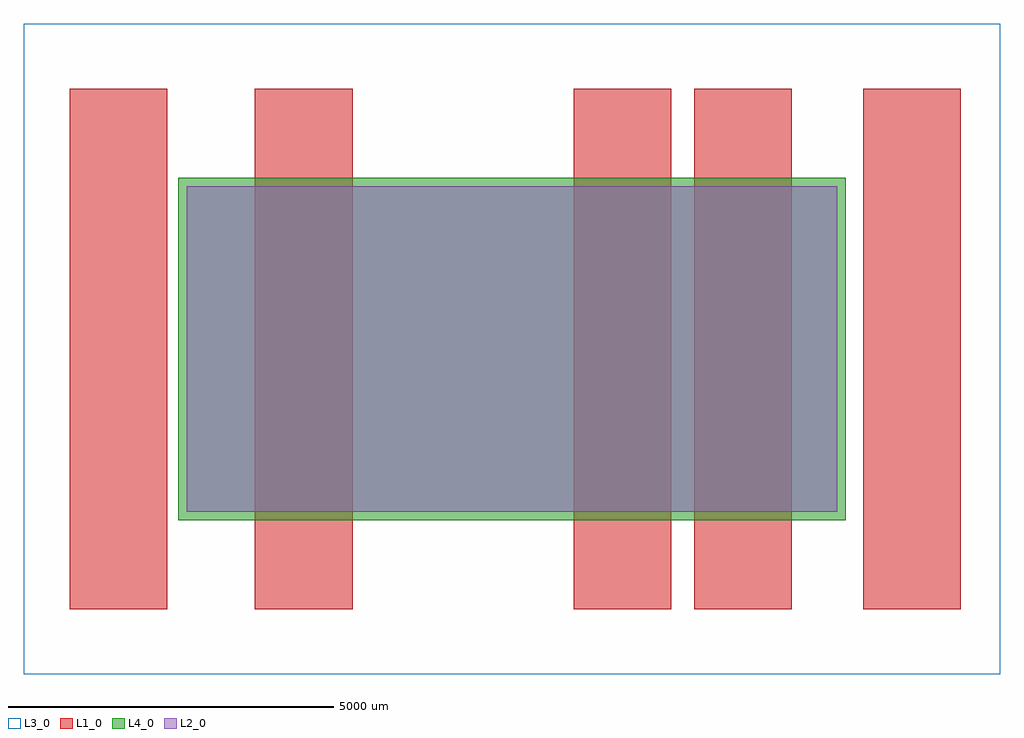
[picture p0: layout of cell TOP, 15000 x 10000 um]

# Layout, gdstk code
import gdstk
lib = gdstk.Library(unit=1e-6, precision=1e-09)
def R(c, l, rs):  # rectangles x0, y0, x1, y1
    for r in rs: c.add(gdstk.rectangle(r[:2], r[2:], *l))
def P(c, l, *ps):  # polygons
    for p in ps: c.add(gdstk.Polygon(p, *l))
L1_0 = (1, 0)
L2_0 = (2, 0)
L3_0 = (3, 0)
L4_0 = (4, 0)

top = lib.new_cell('TOP')
R(top, L1_0, [(-6800,-4000,-5300,4000), (-3950,-4000,-2450,4000), (950,-4000,2450,4000), (2800,-4000,4300,4000), (5400,-4000,6900,4000)])
R(top, L2_0, [(-5000,-2500,5000,2500)])
R(top, L3_0, [(-7500,-5000,7500,5000)])
R(top, L4_0, [(-5025,-2525,5025,2525)])
P(top, L4_0, [(-5130,-2630),(-5130,2530),(-5030,2530),(-5030,-2530),(5030,-2530),(5030,2530),(-5130,2530),(-5130,2630),(5130,2630),(5130,-2630)])

lib.write_gds('TOP.gds')
